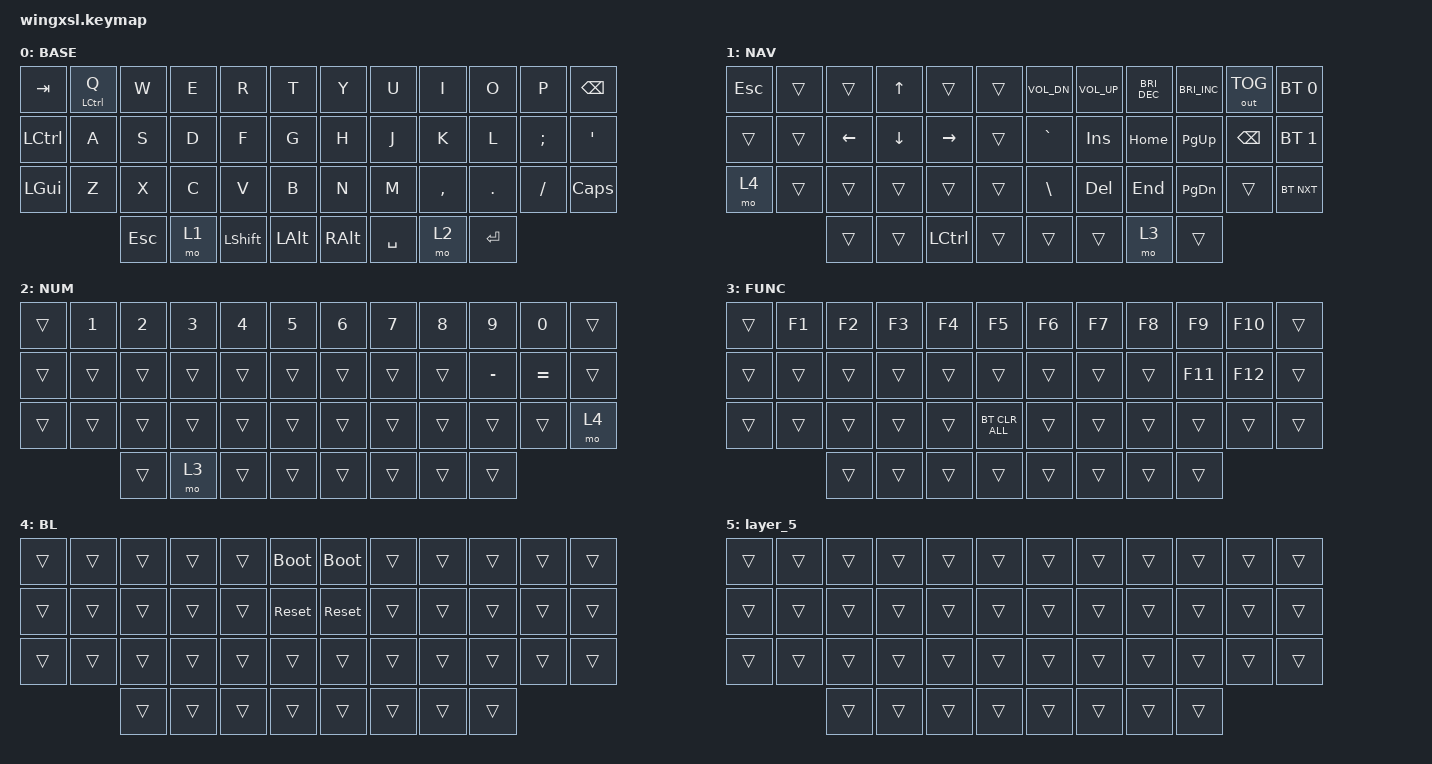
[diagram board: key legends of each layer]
/*
 * Copyright (c) 2020 The ZMK Contributors
 *
 * SPDX-License-Identifier: MIT
 */

#include <behaviors.dtsi>
#include <dt-bindings/zmk/bt.h>
#include <dt-bindings/zmk/keys.h>
#include <dt-bindings/zmk/outputs.h>

&mt {
    flavor = "balanced";
    tapping-term-ms = <130>;
    quick-tap-ms = <130>;
};

/ {
    combos {
        compatible = "zmk,combos";

        ParaLeft {
            bindings = <&kp LEFT_PARENTHESIS>;
            key-positions = <7 8>;
            slow-release;
            timeout-ms = <50>;
        };

        ParaRight {
            bindings = <&kp RIGHT_PARENTHESIS>;
            key-positions = <9 10>;
            slow-release;
            timeout-ms = <50>;
        };

        BrakLeft {
            bindings = <&kp LEFT_BRACKET>;
            key-positions = <31 32>;
            slow-release;
            timeout-ms = <50>;
        };

        BrakRight {
            bindings = <&kp RIGHT_BRACKET>;
            key-positions = <33 34>;
            slow-release;
            timeout-ms = <50>;
        };

        Enter {
            bindings = <&kp ENTER>;
            key-positions = <19 20>;
            slow-release;
            timeout-ms = <50>;
        };

        Tab {
            bindings = <&kp TAB>;
            key-positions = <13 14>;
            slow-release;
            timeout-ms = <50>;
        };

        Esc {
            bindings = <&kp ESCAPE>;
            key-positions = <1 2>;
            slow-release;
            timeout-ms = <50>;
        };

        Quote {
            bindings = <&kp SINGLE_QUOTE>;
            key-positions = <21 22>;
            slow-release;
            timeout-ms = <50>;
        };

        Colon {
            bindings = <&kp COLON>;
            key-positions = <15 16>;
            slow-release;
            timeout-ms = <50>;
        };

        Ctrl_A {
            bindings = <&kp LC(A)>;
            key-positions = <27 13>;
            slow-release;
            timeout-ms = <50>;
        };

        Ctrl_Z {
            bindings = <&kp LC(Z)>;
            key-positions = <27 25>;
            slow-release;
            timeout-ms = <50>;
        };

        Ctrl_Q {
            bindings = <&kp LC(Q)>;
            key-positions = <27 1>;
            slow-release;
            timeout-ms = <50>;
        };
    };

    keymap {
        compatible = "zmk,keymap";

        BASE {
            bindings = <
&kp TAB       &mt LCTRL Q  &kp W       &kp E  &kp R           &kp T     &kp Y          &kp U      &kp I      &kp O      &kp P     &kp BACKSPACE
&kp LCTRL     &kp A        &kp S       &kp D  &kp F           &kp G     &kp H          &kp J      &kp K      &kp L      &kp SEMI  &kp APOS
&kp LEFT_GUI  &kp Z        &kp X       &kp C  &kp V           &kp B     &kp N          &kp M      &kp COMMA  &kp DOT    &kp FSLH  &kp CAPSLOCK
                           &kp ESCAPE  &mo 1  &kp LEFT_SHIFT  &kp LALT  &kp RIGHT_ALT  &kp SPACE  &mo 2      &kp ENTER
            >;
        };

        NAV {
            bindings = <
&kp ESCAPE  &trans  &trans          &kp UP_ARROW    &trans           &trans  &kp C_VOL_DN   &kp C_VOL_UP  &kp C_BRIGHTNESS_DEC  &kp C_BRIGHTNESS_INC  &out OUT_TOG   &bt BT_SEL 0
&trans      &trans  &kp LEFT_ARROW  &kp DOWN_ARROW  &kp RIGHT_ARROW  &trans  &kp GRAVE      &kp INS       &kp HOME              &kp PAGE_UP           &kp BACKSPACE  &bt BT_SEL 1
&mo 4       &trans  &trans          &trans          &trans           &trans  &kp BACKSLASH  &kp DEL       &kp END               &kp PAGE_DOWN         &trans         &bt BT_NXT
                    &trans          &trans          &kp LCTRL        &trans  &trans         &trans        &mo 3                 &trans
            >;
        };

        NUM {
            bindings = <
&trans  &kp NUMBER_1  &kp NUMBER_2  &kp NUMBER_3  &kp NUMBER_4  &kp N5  &kp NUMBER_6  &kp N7  &kp N8  &kp N9     &kp N0     &trans
&trans  &trans        &trans        &trans        &trans        &trans  &trans        &trans  &trans  &kp MINUS  &kp EQUAL  &trans
&trans  &trans        &trans        &trans        &trans        &trans  &trans        &trans  &trans  &trans     &trans     &mo 4
                      &trans        &mo 3         &trans        &trans  &trans        &trans  &trans  &trans
            >;
        };

        FUNC {
            bindings = <
&trans  &kp F1  &kp F2  &kp F3  &kp F4  &kp F5          &kp F6  &kp F7  &kp F8  &kp F9   &kp F10  &trans
&trans  &trans  &trans  &trans  &trans  &trans          &trans  &trans  &trans  &kp F11  &kp F12  &trans
&trans  &trans  &trans  &trans  &trans  &bt BT_CLR_ALL  &trans  &trans  &trans  &trans   &trans   &trans
                &trans  &trans  &trans  &trans          &trans  &trans  &trans  &trans
            >;
        };

        BL {
            bindings = <
&trans  &trans  &trans  &trans  &trans  &bootloader  &bootloader  &trans  &trans  &trans  &trans  &trans
&trans  &trans  &trans  &trans  &trans  &sys_reset   &sys_reset   &trans  &trans  &trans  &trans  &trans
&trans  &trans  &trans  &trans  &trans  &trans       &trans       &trans  &trans  &trans  &trans  &trans
                &trans  &trans  &trans  &trans       &trans       &trans  &trans  &trans
            >;
        };

        layer_5 {
            bindings = <
&trans  &trans  &trans  &trans  &trans  &trans  &trans  &trans  &trans  &trans  &trans  &trans
&trans  &trans  &trans  &trans  &trans  &trans  &trans  &trans  &trans  &trans  &trans  &trans
&trans  &trans  &trans  &trans  &trans  &trans  &trans  &trans  &trans  &trans  &trans  &trans
                &trans  &trans  &trans  &trans  &trans  &trans  &trans  &trans
            >;
        };
    };
};
